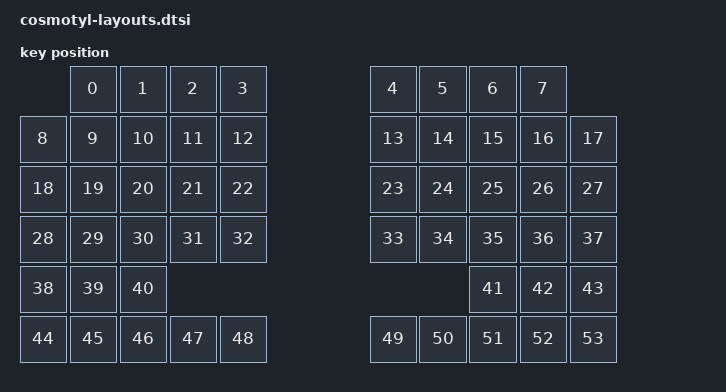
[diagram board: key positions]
#include <dt-bindings/zmk/physical-layout.h>

/ {
    physical_layouts {
        compatible = "zmk,physical-layouts";

        default_layout: default_layout {
            compatible = "zmk,physical-layout";
            display-name = "Default Layout";
            
            // Link to the kscan and transform defined in your main shield file
            kscan = <&kscan>;
            transform = <&default_transform>;

            // Format: &key_physical_attrs width height x_pos y_pos rotation rx ry
            keys
                = <
                // Row 0 (8 keys)
                &key_physical_attrs 100 100 100   0 0 0 0    &key_physical_attrs 100 100 200   0 0 0 0    &key_physical_attrs 100 100 300   0 0 0 0    &key_physical_attrs 100 100 400   0 0 0 0         &key_physical_attrs 100 100 700   0 0 0 0    &key_physical_attrs 100 100 800   0 0 0 0    &key_physical_attrs 100 100 900   0 0 0 0    &key_physical_attrs 100 100 1000   0 0 0 0
                // Row 1 (10 keys)
                &key_physical_attrs 100 100   0 100 0 0 0    &key_physical_attrs 100 100 100 100 0 0 0    &key_physical_attrs 100 100 200 100 0 0 0    &key_physical_attrs 100 100 300 100 0 0 0    &key_physical_attrs 100 100 400 100 0 0 0         &key_physical_attrs 100 100 700 100 0 0 0    &key_physical_attrs 100 100 800 100 0 0 0    &key_physical_attrs 100 100 900 100 0 0 0    &key_physical_attrs 100 100 1000 100 0 0 0    &key_physical_attrs 100 100 1100 100 0 0 0
                // Row 2 (10 keys)
                &key_physical_attrs 100 100   0 200 0 0 0    &key_physical_attrs 100 100 100 200 0 0 0    &key_physical_attrs 100 100 200 200 0 0 0    &key_physical_attrs 100 100 300 200 0 0 0    &key_physical_attrs 100 100 400 200 0 0 0         &key_physical_attrs 100 100 700 200 0 0 0    &key_physical_attrs 100 100 800 200 0 0 0    &key_physical_attrs 100 100 900 200 0 0 0    &key_physical_attrs 100 100 1000 200 0 0 0    &key_physical_attrs 100 100 1100 200 0 0 0
                // Row 3 (10 keys)
                &key_physical_attrs 100 100   0 300 0 0 0    &key_physical_attrs 100 100 100 300 0 0 0    &key_physical_attrs 100 100 200 300 0 0 0    &key_physical_attrs 100 100 300 300 0 0 0    &key_physical_attrs 100 100 400 300 0 0 0         &key_physical_attrs 100 100 700 300 0 0 0    &key_physical_attrs 100 100 800 300 0 0 0    &key_physical_attrs 100 100 900 300 0 0 0    &key_physical_attrs 100 100 1000 300 0 0 0    &key_physical_attrs 100 100 1100 300 0 0 0
                // Row 4 (6 keys - offset in middle)
                &key_physical_attrs 100 100   0 400 0 0 0    &key_physical_attrs 100 100 100 400 0 0 0    &key_physical_attrs 100 100 200 400 0 0 0                                                                                                   &key_physical_attrs 100 100 900 400 0 0 0    &key_physical_attrs 100 100 1000 400 0 0 0    &key_physical_attrs 100 100 1100 400 0 0 0
                // Row 5 (10 keys - Bottom Row / Thumbs)
                &key_physical_attrs 100 100   0 500 0 0 0    &key_physical_attrs 100 100 100 500 0 0 0    &key_physical_attrs 100 100 200 500 0 0 0    &key_physical_attrs 100 100 300 500 0 0 0    &key_physical_attrs 100 100 400 500 0 0 0         &key_physical_attrs 100 100 700 500 0 0 0    &key_physical_attrs 100 100 800 500 0 0 0    &key_physical_attrs 100 100 900 500 0 0 0    &key_physical_attrs 100 100 1000 500 0 0 0    &key_physical_attrs 100 100 1100 500 0 0 0
                >;
        };
    };
};
